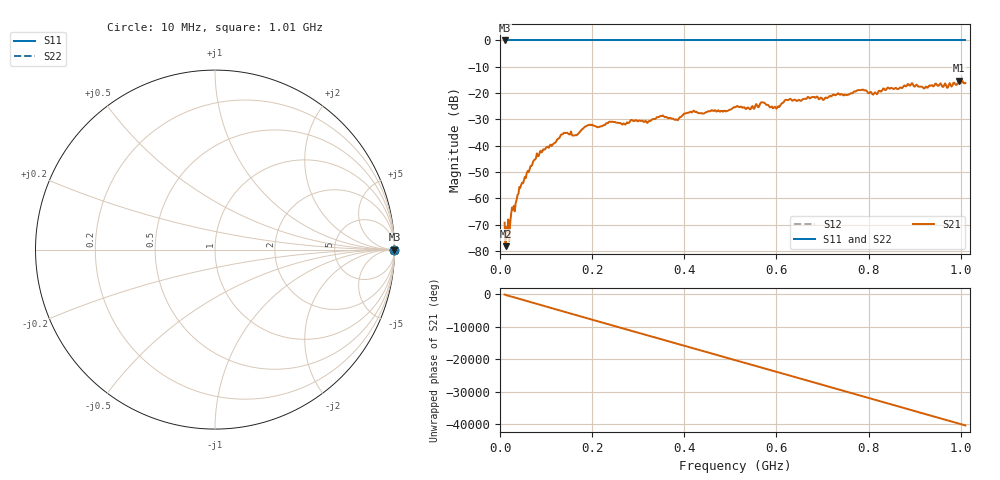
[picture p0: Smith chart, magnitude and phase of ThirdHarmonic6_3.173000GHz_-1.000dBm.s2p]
! 8/17/2025 9:33:42 AM
! C:\ANRITSUVNA\TEMP\TEMP.S2P
! CHANNEL.1
! TR.MEASUREMENT
! RAW.DATA
! RF.CORRECTION.OFF
! AVERAGING.OFF
! IF.BANDWIDTH: 5KHZ
! SWEEPTYPE:  FREQ.SWEEP(Linear)
! Reference Plane Port Info
! PORT:  PORT1  PORT2
! DISTANCE:  0  m  0  m
! TIME:  0  s  0  s
! PHASE.OFFSET:  0  deg.  0  deg.
! LOSS:  0  dB  0  dB
! REF.LOSS:  0  dB  0  dB
! REF.FREQ:  0  Hz  0  Hz
! Power Info
! POWER:  -20  dBm  -20  dBm
! EFF.POWER:  -20  dBm  -20  dBm
! SOURCE.ATTEN:  0  dB  0  dB
! TEST.ATTEN:  0  dB  0  dB
# GHZ S RI R 50.0
! FREQ.GHZ  S11RE  S11IM  S21RE  S21IM  S12RE  S12IM  S22RE  S22IM
!; PortSelection: Port_12
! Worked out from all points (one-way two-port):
!   501 points, 10 MHz to 1.01 GHz, reference 50 ohm
!   highest |S21| = -15.28 dB at 996 MHz (marker M1); lowest = -78.1 dB at 12 MHz (marker M2)
!   lowest |S11| = 0.0 dB at 10 MHz (marker M3)
!   |S11| at or under -10 dB: nowhere
!   |S22| runs from 0.0 to 0.0 dB; largest |S21 - S12| = 1.2
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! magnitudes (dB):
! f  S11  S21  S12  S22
! 10 MHz  0.0  -69.2  0.0  0.0
! 12 MHz  0.0  -78.1  0.0  0.0
! 16 MHz  0.0  -72.8  0.0  0.0
! 26 MHz  0.0  -63.5  0.0  0.0
! 42 MHz  0.0  -55.7  0.0  0.0
! 76 MHz  0.0  -45.2  0.0  0.0
! 136 MHz  0.0  -35.6  0.0  0.0
! 162 MHz  0.0  -36.0  0.0  0.0
! 178 MHz  0.0  -33.7  0.0  0.0
! 344 MHz  0.0  -29.1  0.0  0.0
! 382 MHz  0.0  -30.0  0.0  0.0
! 416 MHz  0.0  -27.4  0.0  0.0
! 510 MHz  0.0  -25.4  0.0  0.0
! 570 MHz  0.0  -23.5  0.0  0.0
! 596 MHz  0.0  -25.2  0.0  0.0
! 622 MHz  0.0  -22.6  0.0  0.0
! 678 MHz  0.0  -21.5  0.0  0.0
! 784 MHz  0.0  -18.8  0.0  0.0
! 814 MHz  0.0  -19.7  0.0  0.0
! 844 MHz  0.0  -18.2  0.0  0.0
! 996 MHz  0.0  -15.3  0.0  0.0
! 1.01 GHz  0.0  -16.1  0.0  0.0
